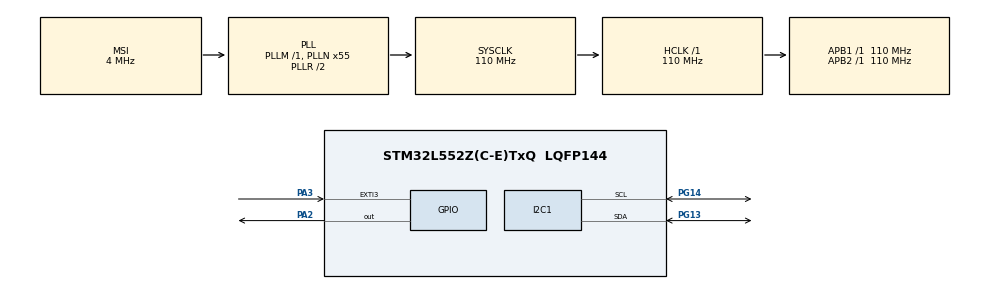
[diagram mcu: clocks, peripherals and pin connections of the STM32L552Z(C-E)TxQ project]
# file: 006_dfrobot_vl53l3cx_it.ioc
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I2C1.Timing=0x60514452
Mcu.Family=STM32L5
Mcu.Name=STM32L552Z(C-E)TxQ
Mcu.Package=LQFP144
Mcu.TrustZone=disable
NUCLEO-L552ZE-Q.BUTTON=1
NUCLEO-L552ZE-Q.LD1=true
NUCLEO-L552ZE-Q.LD2=true
NUCLEO-L552ZE-Q.LD3=true
NUCLEO-L552ZE-Q.VCP=true
NVIC.EXTI13_IRQn=true\:0\:0\:false\:false\:true\:false\:true\:true
NVIC.EXTI3_IRQn=true\:0\:0\:false\:false\:true\:true\:true\:true
NVIC.I2C1_ER_IRQn=true\:0\:0\:false\:false\:true\:true\:true\:true
NVIC.I2C1_EV_IRQn=true\:0\:0\:false\:false\:true\:true\:true\:true
NVIC.PriorityGroup=NVIC_PRIORITYGROUP_3
PA13\ (JTMS/SWDIO).Signal=DEBUG_JTMS-SWDIO
PA14\ (JTCK/SWCLK).Signal=DEBUG_JTCK-SWCLK
PA2.GPIO_Speed=GPIO_SPEED_FREQ_LOW
PA2.Signal=GPIO_Output
PA3.Privilege=EXTI_LINE_PRIV
PA3.Signal=GPXTI3
PB3\ (JTDO/TRACESWO).Signal=DEBUG_JTDO-SWO
PC14-OSC32_IN\ (PC14).Signal=RCC_OSC32_IN
PC15-OSC32_OUT\ (PC15).Signal=RCC_OSC32_OUT
PG13.Mode=I2C
PG13.Signal=I2C1_SDA
PG14.Mode=I2C
PG14.Signal=I2C1_SCL
PG7.Signal=LPUART1_TX
PG8.Signal=LPUART1_RX
ProjectManager.HeapSize=0x200
ProjectManager.StackSize=0x400
ProjectManager.TargetToolchain=STM32CubeIDE
RCC.ADCCLockSelection=RCC_ADCCLKSOURCE_SYSCLK
RCC.ADCFreq_Value=110000000
RCC.AHBFreq_Value=110000000
RCC.APB1Freq_Value=110000000
RCC.APB1TimFreq_Value=110000000
RCC.APB2Freq_Value=110000000
RCC.APB2TimFreq_Value=110000000
RCC.CK48CLockSelection=RCC_USBCLKSOURCE_HSI48
RCC.CortexFreq_Value=110000000
RCC.HCLKFreq_Value=110000000
RCC.HSE_VALUE=8000000
RCC.HSI48_VALUE=48000000
RCC.HSI_VALUE=16000000
RCC.LSE_VALUE=32768
RCC.MSI_VALUE=4000000
RCC.PLLN=55
RCC.PLLSAI1N=24
RCC.RTCClockSelection=RCC_RTCCLKSOURCE_LSE
RCC.SYSCLKFreq_VALUE=110000000
RCC.SYSCLKSource=RCC_SYSCLKSOURCE_PLLCLK
RCC.USBFreq_Value=48000000
RCC.VCOOutputFreq_Value=220000000
VP_ICACHE_VS_ICACHE.Mode=DirectMappedCache
VP_NUCLEO-L552ZE-Q_VS_BSP_COMMON.Mode=COMMON
VP_PWR_VS_DBSignals.Mode=DisableDeadBatterySignals
VP_PWR_VS_SECSignals.Mode=Security/Privilege
board=NUCLEO-L552ZE-Q

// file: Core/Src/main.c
/* USER CODE BEGIN Header */
/**
  ******************************************************************************
  * @file           : main.c
  * @brief          : Main program body
  ******************************************************************************
  * @attention
  *
  * Copyright (c) 2025 STMicroelectronics.
  * All rights reserved.
  *
  * This software is licensed under terms that can be found in the LICENSE file
  * in the root directory of this software component.
  * If no LICENSE file comes with this software, it is provided AS-IS.
  *
  ******************************************************************************
  */
/* USER CODE END Header */
#include "main.h"

/* USER CODE BEGIN Includes */
#include "vl53lx_api.h"
#include <stdio.h>
/* USER CODE END Includes */

COM_InitTypeDef BspCOMInit;
I2C_HandleTypeDef hi2c1;

/* USER CODE BEGIN PV */
VL53LX_Dev_t                   dev;
VL53LX_DEV                     Dev = &dev;
int status;
volatile int IntCount;
#define isInterrupt 0 /* If isInterrupt = 1 then device working in hardware interrupt mode, else device working in polling mode */
/* USER CODE END PV */

void SystemClock_Config(void);
static void MX_GPIO_Init(void);
static void MX_I2C1_Init(void);
static void MX_ICACHE_Init(void);
/* USER CODE BEGIN PFP */
void RangingLoop(void);
/* USER CODE END PFP */

int main(void)
{

  /* USER CODE BEGIN 1 */
	  uint8_t byteData;
	  uint16_t wordData;
  /* USER CODE END 1 */

  /* MCU Configuration--------------------------------------------------------*/

  /* Reset of all peripherals, Initializes the Flash interface and the Systick. */
  HAL_Init();

  /* Configure the system clock */
  SystemClock_Config();

  /* Initialize all configured peripherals */
  MX_GPIO_Init();
  MX_I2C1_Init();
  MX_ICACHE_Init();
  /* USER CODE BEGIN 2 */
  /* Enable EXTI3 interrupt */

  /* USER CODE END 2 */

  /* Initialize leds */
  BSP_LED_Init(LED_GREEN);
  BSP_LED_Init(LED_BLUE);
  BSP_LED_Init(LED_RED);

  /* Initialize USER push-button, will be used to trigger an interrupt each time it's pressed.*/
  BSP_PB_Init(BUTTON_USER, BUTTON_MODE_EXTI);

  /* Initialize COM1 port (115200, 8 bits (7-bit data + 1 stop bit), no parity */
  BspCOMInit.BaudRate   = 115200;
  BspCOMInit.WordLength = COM_WORDLENGTH_8B;
  BspCOMInit.StopBits   = COM_STOPBITS_1;
  BspCOMInit.Parity     = COM_PARITY_NONE;
  BspCOMInit.HwFlowCtl  = COM_HWCONTROL_NONE;
  if (BSP_COM_Init(COM1, &BspCOMInit) != BSP_ERROR_NONE)
  {
    Error_Handler();
  }

  /* Infinite loop */
  /* USER CODE BEGIN WHILE */

  /* Enable sensor via XSHUT pin */
  printf("\r\n=== VL53L3CX Initialization ===\r\n");
  printf("Resetting sensor (XSHUT LOW)...\r\n");
  HAL_GPIO_WritePin(GPIOA, GPIO_PIN_2, GPIO_PIN_RESET);
  HAL_Delay(10);
  printf("Enabling sensor (XSHUT HIGH)...\r\n");
  HAL_GPIO_WritePin(GPIOA, GPIO_PIN_2, GPIO_PIN_SET);
  HAL_Delay(100);  // Wait for sensor to boot
  GPIO_PinState xshut_state = HAL_GPIO_ReadPin(GPIOA, GPIO_PIN_2);
  printf("XSHUT pin state: %s\r\n", xshut_state == GPIO_PIN_SET ? "HIGH" : "LOW");
  printf("Sensor enabled.\r\n\r\n");

  /* I2C Address Scanner */
  printf("=== I2C Address Scanner ===\r\n");
  printf("Scanning I2C bus...\r\n");
  for(uint8_t addr = 1; addr < 128; addr++) {
    if(HAL_I2C_IsDeviceReady(&hi2c1, addr << 1, 1, 10) == HAL_OK) {
      printf("Found device at 0x%02X (8-bit: 0x%02X)\r\n", addr, addr << 1);
    }
  }
  printf("Scan complete.\r\n\r\n");

  Dev->I2cHandle = &hi2c1;
  Dev->I2cDevAddr = 0x52;
  Dev->i2c_slave_address = 0x52;

  VL53LX_RdByte(Dev, 0x010F, &byteData);
  printf("VL53LX Model_ID: %02X\n\r", byteData);
  VL53LX_RdByte(Dev, 0x0110, &byteData);
  printf("VL53LX Module_Type: %02X\n\r", byteData);
  VL53LX_RdWord(Dev, 0x010F, &wordData);
  printf("VL53LX: %02X\n\r", wordData);
  RangingLoop();
  while (1)
  {

    /* USER CODE END WHILE */

  }
}

void SystemClock_Config(void)
{
  RCC_OscInitTypeDef RCC_OscInitStruct = {0};
  RCC_ClkInitTypeDef RCC_ClkInitStruct = {0};

  /** Configure the main internal regulator output voltage
  */
  if (HAL_PWREx_ControlVoltageScaling(PWR_REGULATOR_VOLTAGE_SCALE0) != HAL_OK)
  {
    Error_Handler();
  }

  /** Initializes the RCC Oscillators according to the specified parameters
  * in the RCC_OscInitTypeDef structure.
  */
  RCC_OscInitStruct.OscillatorType = RCC_OSCILLATORTYPE_MSI;
  RCC_OscInitStruct.MSIState = RCC_MSI_ON;
  RCC_OscInitStruct.MSICalibrationValue = RCC_MSICALIBRATION_DEFAULT;
  RCC_OscInitStruct.MSIClockRange = RCC_MSIRANGE_6;
  RCC_OscInitStruct.PLL.PLLState = RCC_PLL_ON;
  RCC_OscInitStruct.PLL.PLLSource = RCC_PLLSOURCE_MSI;
  RCC_OscInitStruct.PLL.PLLM = 1;
  RCC_OscInitStruct.PLL.PLLN = 55;
  RCC_OscInitStruct.PLL.PLLP = RCC_PLLP_DIV7;
  RCC_OscInitStruct.PLL.PLLQ = RCC_PLLQ_DIV2;
  RCC_OscInitStruct.PLL.PLLR = RCC_PLLR_DIV2;
  if (HAL_RCC_OscConfig(&RCC_OscInitStruct) != HAL_OK)
  {
    Error_Handler();
  }

  /** Initializes the CPU, AHB and APB buses clocks
  */
  RCC_ClkInitStruct.ClockType = RCC_CLOCKTYPE_HCLK|RCC_CLOCKTYPE_SYSCLK
                              |RCC_CLOCKTYPE_PCLK1|RCC_CLOCKTYPE_PCLK2;
  RCC_ClkInitStruct.SYSCLKSource = RCC_SYSCLKSOURCE_PLLCLK;
  RCC_ClkInitStruct.AHBCLKDivider = RCC_SYSCLK_DIV1;
  RCC_ClkInitStruct.APB1CLKDivider = RCC_HCLK_DIV1;
  RCC_ClkInitStruct.APB2CLKDivider = RCC_HCLK_DIV1;

  if (HAL_RCC_ClockConfig(&RCC_ClkInitStruct, FLASH_LATENCY_5) != HAL_OK)
  {
    Error_Handler();
  }
}

static void MX_I2C1_Init(void)
{

  hi2c1.Instance = I2C1;
  hi2c1.Init.Timing = 0x60514452;
  hi2c1.Init.OwnAddress1 = 0;
  hi2c1.Init.AddressingMode = I2C_ADDRESSINGMODE_7BIT;
  hi2c1.Init.DualAddressMode = I2C_DUALADDRESS_DISABLE;
  hi2c1.Init.OwnAddress2 = 0;
  hi2c1.Init.OwnAddress2Masks = I2C_OA2_NOMASK;
  hi2c1.Init.GeneralCallMode = I2C_GENERALCALL_DISABLE;
  hi2c1.Init.NoStretchMode = I2C_NOSTRETCH_DISABLE;
  if (HAL_I2C_Init(&hi2c1) != HAL_OK)
  {
    Error_Handler();
  }

  /** Configure Analogue filter
  */
  if (HAL_I2CEx_ConfigAnalogFilter(&hi2c1, I2C_ANALOGFILTER_ENABLE) != HAL_OK)
  {
    Error_Handler();
  }

  /** Configure Digital filter
  */
  if (HAL_I2CEx_ConfigDigitalFilter(&hi2c1, 0) != HAL_OK)
  {
    Error_Handler();
  }
  /* USER CODE BEGIN I2C1_Init 2 */

  /* Enable I2C interrupts in NVIC */
  HAL_NVIC_SetPriority(I2C1_EV_IRQn, 2, 0);
  HAL_NVIC_EnableIRQ(I2C1_EV_IRQn);
  HAL_NVIC_SetPriority(I2C1_ER_IRQn, 2, 0);
  HAL_NVIC_EnableIRQ(I2C1_ER_IRQn);

  /* USER CODE END I2C1_Init 2 */

}

static void MX_ICACHE_Init(void)
{

  /** Enable instruction cache in 1-way (direct mapped cache)
  */
  if (HAL_ICACHE_ConfigAssociativityMode(ICACHE_1WAY) != HAL_OK)
  {
    Error_Handler();
  }
  if (HAL_ICACHE_Enable() != HAL_OK)
  {
    Error_Handler();
  }

}

static void MX_GPIO_Init(void)
{
  GPIO_InitTypeDef GPIO_InitStruct = {0};

  /* GPIO Ports Clock Enable */
  __HAL_RCC_GPIOC_CLK_ENABLE();
  __HAL_RCC_GPIOA_CLK_ENABLE();
  __HAL_RCC_GPIOG_CLK_ENABLE();
  HAL_PWREx_EnableVddIO2();
  __HAL_RCC_GPIOB_CLK_ENABLE();

  /*Configure GPIO pin Output Level */
  HAL_GPIO_WritePin(GPIOA, GPIO_PIN_2, GPIO_PIN_RESET);

  /*Configure GPIO pin : PA2 */
  GPIO_InitStruct.Pin = GPIO_PIN_2;
  GPIO_InitStruct.Mode = GPIO_MODE_OUTPUT_PP;
  GPIO_InitStruct.Pull = GPIO_NOPULL;
  GPIO_InitStruct.Speed = GPIO_SPEED_FREQ_LOW;
  HAL_GPIO_Init(GPIOA, &GPIO_InitStruct);

  /*Configure GPIO pin : PA3 */
  GPIO_InitStruct.Pin = GPIO_PIN_3;
  GPIO_InitStruct.Mode = GPIO_MODE_IT_RISING;
  GPIO_InitStruct.Pull = GPIO_NOPULL;
  HAL_GPIO_Init(GPIOA, &GPIO_InitStruct);

  /*Configure the EXTI line attribute */
  HAL_EXTI_ConfigLineAttributes(EXTI_LINE_3, EXTI_LINE_PRIV);

  /* EXTI interrupt init*/
  HAL_NVIC_SetPriority(EXTI3_IRQn, 0, 0);
  HAL_NVIC_EnableIRQ(EXTI3_IRQn);

}

/* USER CODE BEGIN 4 */
/* ranging and display loop */
void RangingLoop(void)
{
 VL53LX_MultiRangingData_t MultiRangingData;
 VL53LX_MultiRangingData_t *pMultiRangingData = &MultiRangingData;
 uint8_t NewDataReady=0;
 int no_of_object_found=0,j;
 printf("Ranging loop starts\n");

 status = VL53LX_WaitDeviceBooted(Dev);
 status = VL53LX_DataInit(Dev);
 status = VL53LX_StartMeasurement(Dev);

 if(status){
   printf("VL53LX_StartMeasurement failed: error = %d \n", status);
   while(1);
 }

 if (isInterrupt){
   do // HW interrupt mode
   {
     __WFI();
     if(IntCount !=0 ){
       IntCount=0;
       status = VL53LX_GetMultiRangingData(Dev, pMultiRangingData);
       no_of_object_found=pMultiRangingData->NumberOfObjectsFound;
       printf("Count=%5d, ", pMultiRangingData->StreamCount);
       printf("#Objs=%1d ", no_of_object_found);
       for(j=0;j<no_of_object_found;j++){
         if(j!=0)printf("\n                     ");
         printf("status=%d, D=%5dmm, Signal=%2.2f Mcps, Ambient=%2.2f Mcps",
                pMultiRangingData->RangeData[j].RangeStatus,
                pMultiRangingData->RangeData[j].RangeMilliMeter,
                pMultiRangingData->RangeData[j].SignalRateRtnMegaCps/65536.0,
                pMultiRangingData->RangeData[j].AmbientRateRtnMegaCps/65536.0);
       }
       printf ("\n");
       if (status==0){
         status = VL53LX_ClearInterruptAndStartMeasurement(Dev);
       }

     }
   }
   while(1);
 }
 else{
   do{ // polling mode
     status = VL53LX_GetMeasurementDataReady(Dev, &NewDataReady);
     HAL_Delay(1); // 1 ms polling period, could be longer.
     if((!status)&&(NewDataReady!=0)){
       status = VL53LX_GetMultiRangingData(Dev, pMultiRangingData);
       no_of_object_found=pMultiRangingData->NumberOfObjectsFound;
       printf("Count=%5d, ", pMultiRangingData->StreamCount);
       printf("#Objs=%1d ", no_of_object_found);
       for(j=0;j<no_of_object_found;j++){
         if(j!=0)printf("\n                     ");
         printf("status=%d, D=%5dmm, Signal=%2.2f Mcps, Ambient=%2.2f Mcps",
                pMultiRangingData->RangeData[j].RangeStatus,
                pMultiRangingData->RangeData[j].RangeMilliMeter,
                pMultiRangingData->RangeData[j].SignalRateRtnMegaCps/65536.0,
                pMultiRangingData->RangeData[j].AmbientRateRtnMegaCps/65536.0);
       }
       printf ("\n");
       if (status==0){
         status = VL53LX_ClearInterruptAndStartMeasurement(Dev);
       }
     }
   }
   while (1);
 }
}

void HAL_GPIO_EXTI_Callback(uint16_t GPIO_Pin)
{
  if (GPIO_Pin == GPIO_PIN_3)
  {
    /* VL53L3CX interrupt */
    IntCount++;
  }
}

/* I2C Interrupt Mode Variables - External declarations */
extern volatile uint8_t i2c_state;
extern volatile HAL_StatusTypeDef i2c_result;

/* I2C Callback Functions for Interrupt Mode */
void HAL_I2C_MasterTxCpltCallback(I2C_HandleTypeDef *hi2c)
{
  if (hi2c->Instance == I2C1) {
    i2c_state = 0; // I2C_STATE_READY
    i2c_result = HAL_OK;
  }
}

void HAL_I2C_MasterRxCpltCallback(I2C_HandleTypeDef *hi2c)
{
  if (hi2c->Instance == I2C1) {
    i2c_state = 0; // I2C_STATE_READY
    i2c_result = HAL_OK;
  }
}

void HAL_I2C_ErrorCallback(I2C_HandleTypeDef *hi2c)
{
  if (hi2c->Instance == I2C1) {
    i2c_state = 3; // I2C_STATE_ERROR
    i2c_result = HAL_ERROR;
  }
}
/* USER CODE END 4 */

void Error_Handler(void)
{
  __disable_irq();
  while (1)
  {
  }
}
